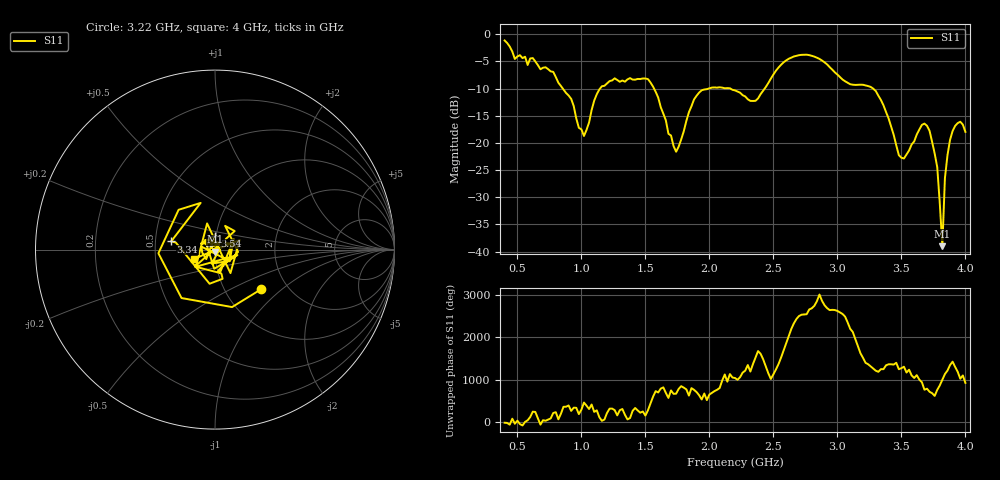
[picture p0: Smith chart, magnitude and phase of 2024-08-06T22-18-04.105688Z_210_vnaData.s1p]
!Created with skrf (http://scikit-rf.org).
# Hz S RI R 50.0
!freq ReS11 ImS11
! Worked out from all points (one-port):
!   181 points, 400 MHz to 4 GHz, reference 50 ohm
!   lowest |S11| = -39.0 dB at 3.82 GHz (marker M1), VSWR 1.02, Z = 50.2 - j1.11 ohm
!   |S11| at or under -10 dB: 854.8 MHz to 1.145 GHz (290.3 MHz wide, 29 % of centre); 1.568 GHz to 1.993 GHz (425.4 MHz wide, 23.9 % of centre); 3.28 GHz to end of sweep (the widest 3 of 4)
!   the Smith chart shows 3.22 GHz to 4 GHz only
!   S11 on the Smith chart (normalised r, x): 3.22 GHz: 1.47, -0.74; 3.34 GHz: 0.60, +0.06; 3.54 GHz: 0.99, +0.16; 4 GHz: 0.79, -0.08
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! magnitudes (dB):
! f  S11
! 400 MHz  -1.1
! 480 MHz  -4.5
! 860 MHz  -10.2
! 1.02 GHz  -18.7
! 1.14 GHz  -10.2
! 1.3 GHz  -8.7
! 1.52 GHz  -8.2
! 1.74 GHz  -21.6
! 1.76 GHz  -20.7
! 1.92 GHz  -10.7
! 2.2 GHz  -10.3
! 2.36 GHz  -12.2
! 2.66 GHz  -4.1
! 2.86 GHz  -4.5
! 3.1 GHz  -9.2
! 3.22 GHz  -9.4
! 3.34 GHz  -12.1
! 3.48 GHz  -22.2
! 3.54 GHz  -22.1
! 3.56 GHz  -21.4
! 3.66 GHz  -16.7
! 3.72 GHz  -17.8
! 3.78 GHz  -24.5
! 3.82 GHz  -39.0
! 3.84 GHz  -26.5
! 3.88 GHz  -19.4
! 3.96 GHz  -16.1
! 4 GHz  -18.0
